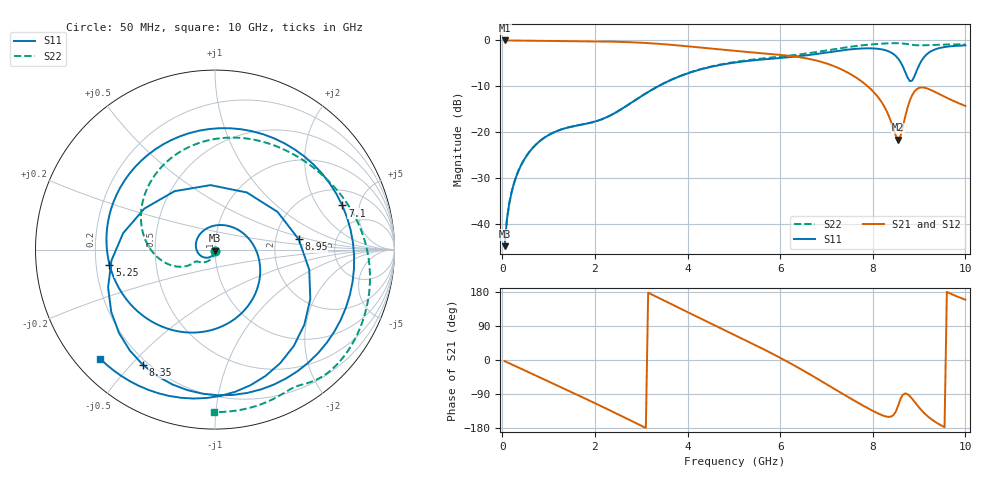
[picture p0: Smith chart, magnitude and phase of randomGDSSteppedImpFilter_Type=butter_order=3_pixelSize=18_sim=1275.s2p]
! freq	dB(S11)	phase(S11)	dB(S12)	phase(S12)
!  dB(S21)	phase(S21)	dB(S22)	phase(S22)
!S-par simulation data
#  GHz  S  DB  R 50
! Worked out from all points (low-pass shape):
!   200 points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, 50 MHz to 10 GHz, reference 50 ohm
!   highest |S21| = -0.01 dB at 50 MHz (marker M1); lowest = -21.6 dB at 8.55 GHz (marker M2)
!   |S21| within 3 dB of the highest: start of sweep to 5.858 GHz
!   lowest |S11| = -44.9 dB at 50 MHz (marker M3), VSWR 1.01, Z = 50 - j0.572 ohm
!   |S11| at or under -10 dB: start of sweep to 3.365 GHz
!   |S22| runs from -44.8 to -0.6 dB; largest |S21 - S12| = 0
!   S11 on the Smith chart (normalised r, x): 50 MHz: 1.00, -0.01; 5.25 GHz: 0.26, -0.07; 7.1 GHz: 3.01, +3.39; 8.35 GHz: 0.18, -0.54; 8.95 GHz: 2.71, +0.40; 10 GHz: 0.07, -0.40
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0.05  -44.86 -90.4  -0.01 -2.9  -0.01 -2.9  -44.82 -89.1
0.2  -33.12 -103.6  -0.02 -11.4  -0.02 -11.4  -33.09 -97.9
0.5  -25.53 -126.1  -0.05 -28.4  -0.05 -28.4  -25.50 -111.4
1.15  -19.88 -176.7  -0.12 -65.2  -0.12 -65.2  -19.87 -135.5
1.75  -18.28 126.6  -0.18 -99.5  -0.18 -99.5  -18.29 -147.4
2.65  -14.47 24.3  -0.35 -152.3  -0.35 -152.3  -14.48 -150.6
3.4  -9.81 -43.8  -0.75 162.5  -0.75 162.5  -9.80 -172.6
4.25  -6.41 -104.8  -1.52 111.5  -1.52 111.5  -6.35 147.1
5.05  -4.78 -158.1  -2.30 64.3  -2.30 64.3  -4.65 106.3
5.25  -4.53 -172.0  -2.48 52.3  -2.48 52.3  -4.37 96.4
5.95  -3.87 134.0  -3.09 9.0  -3.09 9.0  -3.58 63.5
6.7  -3.07 62.1  -4.19 -42.1  -4.19 -42.1  -2.66 32.0
7.1  -2.49 19.1  -5.37 -71.1  -5.37 -71.1  -2.02 15.6
7.45  -2.02 -18.6  -6.96 -96.5  -6.96 -96.5  -1.47 0.9
7.85  -1.72 -61.0  -9.65 -124.3  -9.65 -124.3  -0.98 -16.1
8.35  -2.41 -122.0  -16.55 -150.2  -16.55 -150.2  -0.62 -37.1
8.55  -3.99 -160.6  -21.61 -119.8  -21.61 -119.8  -0.61 -45.6
8.8  -8.87 94.0  -13.12 -95.3  -13.12 -95.3  -0.88 -55.4
8.95  -6.56 7.0  -10.62 -117.8  -10.62 -117.8  -1.05 -59.6
9.15  -3.17 -50.8  -10.40 -144.7  -10.40 -144.7  -1.04 -64.7
9.35  -1.94 -81.9  -11.26 -163.4  -11.26 -163.4  -0.95 -70.5
10  -1.08 -136.4  -14.28 159.0  -14.28 159.0  -0.87 -90.2
